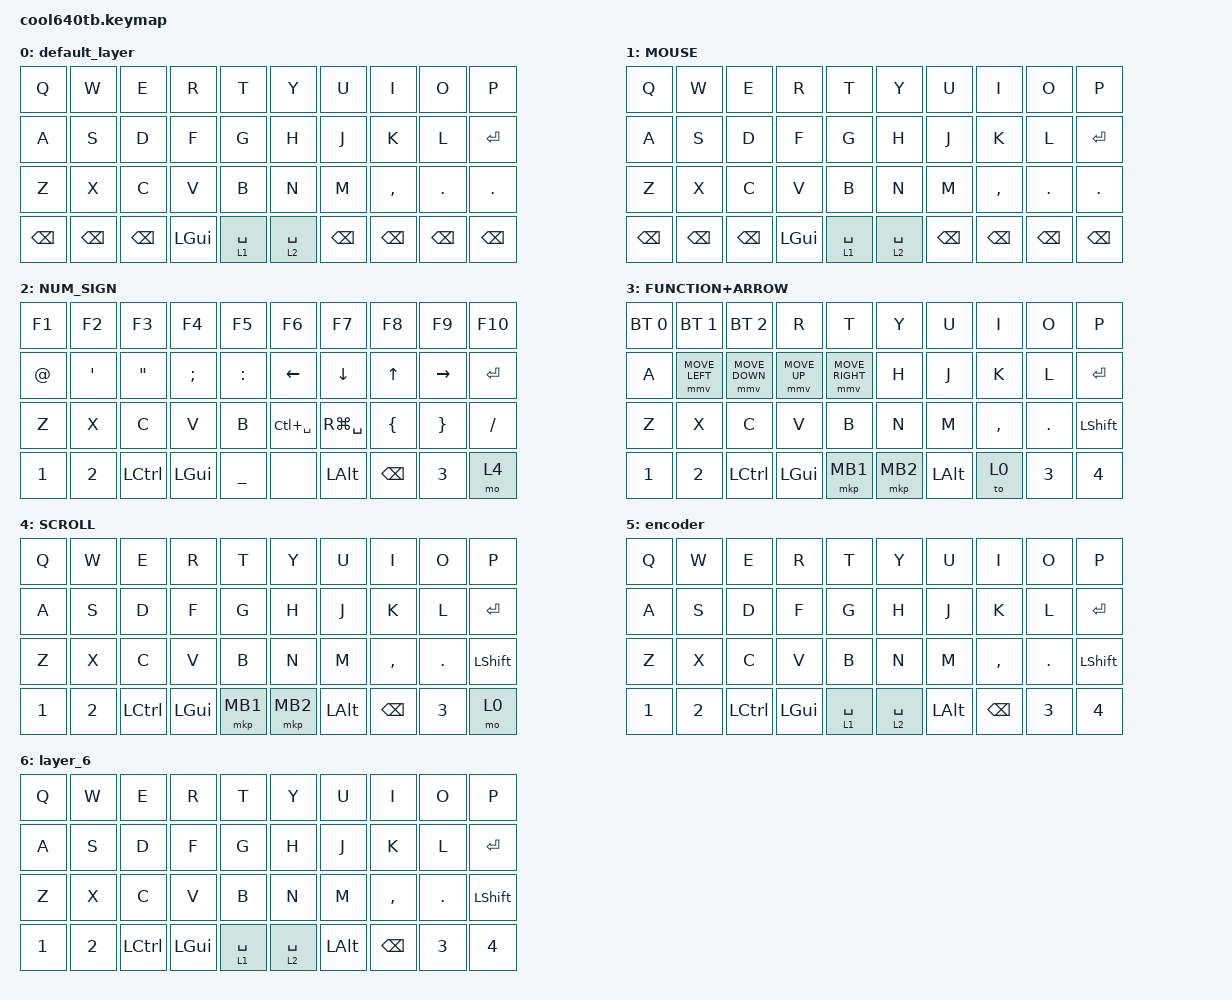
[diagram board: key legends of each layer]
// #define ZMK_POINTING_DEFAULT_MOVE_VAL 800 
// #define ZMK_POINTING_DEFAULT_SCRL_VAL 120

#include <behaviors.dtsi>
#include <dt-bindings/zmk/bt.h>
#include <dt-bindings/zmk/keys.h>
#include <dt-bindings/zmk/pointing.h>

// #include <dt-bindings/zmk/pointing.h>

#define MOUSE 1
#define NUM 2
#define SCROLL 4
#define JP_DQUOTE       AT                // "
#define JP_AMPERSAND    CARET             // &
#define JP_QUOTE        AMPERSAND         // '
#define JP_EQUAL        UNDER             // =
#define JP_CARET        EQUAL             // ^
#define JP_YEN          0x89              // ¥
#define JP_PLUS         COLON             // +
#define JP_TILDE        PLUS              // ~
#define JP_PIPE         LS(0x89)          // |
#define JP_AT           LEFT_BRACKET      // @
#define JP_COLON        SINGLE_QUOTE      // :
#define JP_ASTERISK     DOUBLE_QUOTES     // *
#define JP_BACKQUOTE    LEFT_BRACE        // `
#define JP_UNDERSCORE   LS(0x87)          // _
#define JP_LBRACKET     RIGHT_BRACKET     // [
#define JP_RBRACKET     BACKSLASH         // ]
#define JP_LPAREN       ASTERISK          // (
#define JP_RPAREN       LEFT_PARENTHESIS  // )
#define JP_LBRACE       RIGHT_BRACE       // {
#define JP_RBRACE       PIPE              // }
#define JP_KANA         LANGUAGE_1        // かな
#define JP_EISU         LANGUAGE_2        // 英数
#define JP_HANZEN       GRAVE             // 半角/全角

&mt {
    flavor = "balanced";
    quick-tap-ms = <0>;
};

/ {
    combos {
        compatible = "zmk,combos";

        comb1tab {
            bindings = <&kp TAB>;
            key-positions = <11 10>;
        };

        comb2esc {
            bindings = <&kp LS(ESCAPE)>;
            key-positions = <0 1>;
        };

        comb3shift {
            bindings = <&kt LEFT_SHIFT>;
            key-positions = <22 23>;
        };

        combo4bksp {
            bindings = <&kp DELETE>;
            key-positions = <9 8>;
        };

        combo5enter {
            bindings = <&kp ENTER>;
            key-positions = <20 21>;
        };

        combo6shift {
            bindings = <&sk RIGHT_SHIFT>;
            key-positions = <32 33>;
        };

        combo7lay4 {
            bindings = <&sl 4>;
            key-positions = <40 41>;
        };

        combo8task {
            bindings = <&kp LS(LC(ESCAPE))>;
            key-positions = <0 1 34>;
        };

        combo9lay4 {
            bindings = <&sl 4>;
            key-positions = <39 38>;
        };

        taskmana {
            bindings = <&kp LS(LC(ESC))>;
            key-positions = <0 34 35>;
        };

        enc {
            bindings = <&kp BACKSPACE>;
            key-positions = <39 27>;
        };

        shiftctrl {
            bindings = <&sk LS(LEFT_CONTROL)>;
            key-positions = <34 35>;
        };

        prev {
            bindings = <&mkp MB4>;
            key-positions = <42 33>;
        };

        encoder {
            bindings = <&to 5>;
            key-positions = <28 16>;
        };

        new {
            bindings = <&kp LS(LC(N))>;
            key-positions = <30 29>;
        };
    };

    macros {
        to_layer_0: to_layer_0 {
            compatible = "zmk,behavior-macro-one-param";
            #binding-cells = <1>;
            bindings = <&to 0 &macro_param_1to1 &kp MACRO_PLACEHOLDER>;
            label = "TO_LAYER_0";
        };

        pass1: pass1 {
            compatible = "zmk,behavior-macro";
            #binding-cells = <0>;
            bindings =
                <&kp LANG_HANJA>,
                <&macro_wait_time 2>,
                <&kp LS(K) &kp O &kp B &kp A &kp T &kp A &kp K &kp U &kp N8 &kp N3 &kp ENTER>;

            label = "PASS1";
        };

        pass2: pass2 {
            compatible = "zmk,behavior-macro";
            #binding-cells = <0>;
            bindings =
                <&kp LANG_HANJA>,
                <&macro_wait_time 2>,
                <&kp J &kp R &kp E &kp D &kp N2 &kp N0 &kp N2 &kp N5 &kp ENTER>;

            label = "PASS2";
        };

        pass3: pass3 {
            compatible = "zmk,behavior-macro";
            #binding-cells = <0>;
            bindings =
                <&kp LANG_HANJA>,
                <&macro_wait_time 2>,
                <&kp J &kp R &kp E &kp D &kp N2 &kp N0 &kp N1 &kp N9 &kp ENTER>;

            label = "PASS3";
        };

        mail1: mail1 {
            compatible = "zmk,behavior-macro";
            #binding-cells = <0>;
            bindings =
                <&kp LANG_HANJA>,
                <&macro_wait_time 2>,
                <&kp T &kp A &kp K &kp MINUS &kp K &kp O &kp B &kp A &kp Y &kp A &kp S &kp H &kp H &kp I &kp JP_AT &kp J &kp R &kp E &kp D &kp DOT &kp C &kp O &kp DOT &kp J &kp P>;

            label = "MAIL1";
        };

        mail2: mail2 {
            compatible = "zmk,behavior-macro";
            #binding-cells = <0>;
            bindings =
                <&kp LANG_HANJA>,
                <&macro_wait_time 2>,
                <&kp T &kp A &kp K &kp U &kp N8 &kp N3 &kp JP_AT &kp I &kp C &kp L &kp O &kp U &kp D &kp DOT &kp C &kp O &kp M>;

            label = "MAIL2";
        };

        LP1: adress {
            compatible = "zmk,behavior-macro";
            #binding-cells = <0>;
            bindings =
                <&kp LANG_HANJA>,
                <&macro_wait_time 2>,
                <&kp LS(T) &kp LS(H) &kp LS(E) &kp SPACE &kp LS(L) &kp LS(I) &kp LS(N) &kp LS(K) &kp LS(P) &kp LS(I) &kp LS(L) &kp LS(L) &kp LS(A) &kp LS(R) &kp N1 &kp SPACE &kp LS(S) &kp LS(O) &kp LS(U) &kp LS(T) &kp LS(H) &kp SPACE &kp N1 &kp N2 &kp LS(F)>;

            label = "ADRESS";
        };

        JV: JV {
            compatible = "zmk,behavior-macro";
            #binding-cells = <0>;
            bindings =
                <&kp LANGUAGE_1>,
                <&macro_wait_time 2>,
                <&kp LS(NUMBER_8) &kp LS(NUMBER_9) &kp ENTER &kp LANG_HANJA>,
                <&macro_wait_time 2>,
                <&kp LEFT_ARROW &kp LS(J) &kp LS(V) &kp RIGHT &kp LANG1>;

            label = "JV";
        };

        JR: JR {
            compatible = "zmk,behavior-macro";
            #binding-cells = <0>;
            bindings =
                <&kp LANGUAGE_1>,
                <&macro_wait_time 2>,
                <&kp LS(NUMBER_8) &kp LS(NUMBER_9) &kp ENTER &kp LANG_HANJA>,
                <&macro_wait_time 2>,
                <&kp LEFT_ARROW &kp LS(J) &kp LS(R) &kp RIGHT &kp LANGUAGE_1>;

            label = "JR";
        };

        machi: machi {
            compatible = "zmk,behavior-macro";
            #binding-cells = <0>;
            bindings =
                <&kp LANGUAGE_1>,
                <&macro_wait_time 2>,
                <&kp LS(NUMBER_8) &kp LS(NUMBER_9) &kp ENTER &kp LEFT_ARROW &kp M &kp A &kp C &kp H &kp I &kp S &kp E &kp N &kp N &kp SPACE &kp ENTER &kp RIGHT &kp LANGUAGE_1>;

            label = "MACHI";
        };

        pass4: pj {
            compatible = "zmk,behavior-macro";
            #binding-cells = <0>;
            bindings =
                <&kp LANG_HANJA>,
                <&macro_wait_time 2>,
                <&kp P &kp J &kp P &kp J &kp N8 &kp N7 &kp N8 &kp N7 &kp ENTER>;

            label = "PJ";
        };

        kakko: kakko {
            compatible = "zmk,behavior-macro";
            #binding-cells = <0>;
            bindings =
                <&kp LANGUAGE_1>,
                <&macro_wait_time 2>,
                <&kp K &kp A &kp K &kp K &kp O &kp SPACE &kp ENTER &kp LEFT>;

            label = "KAKKO";
        };

        undo: undo {
            compatible = "zmk,behavior-macro";
            #binding-cells = <0>;
            bindings = <&kp LANG_HANJA>, <&macro_wait_time 1>, <&kp LC(Z)>;

            label = "UNDO";
        };

        cut: cut {
            compatible = "zmk,behavior-macro";
            #binding-cells = <0>;
            bindings = <&kp LANG_HANJA>, <&macro_wait_time 1>, <&kp LC(X)>;

            label = "CUT";
        };

        copy: copy {
            compatible = "zmk,behavior-macro";
            #binding-cells = <0>;
            bindings = <&kp LANG_HANJA>, <&macro_wait_time 1>, <&kp LC(C)>;

            label = "COPY";
        };

        paste: paste {
            compatible = "zmk,behavior-macro";
            #binding-cells = <0>;
            bindings = <&kp LANG_HANJA>, <&macro_wait_time 1>, <&kp LC(V)>;

            label = "PASTE";
        };

        big: big {
            compatible = "zmk,behavior-macro";
            #binding-cells = <0>;
            bindings = <&kp LANG_HANJA>, <&macro_wait_time 1>, <&kp LC(B)>;

            label = "BIG";
        };

        Notepad: Notepad {
            compatible = "zmk,behavior-macro";
            #binding-cells = <0>;
            bindings =
                <&kp LANG_HANJA>,
                <&macro_wait_time 100>,
                <&kp LG(R)>,
                <&macro_wait_time 20>,
                <&kp N &kp O &kp T &kp E &kp P &kp A &kp D &kp ENTER>;

            label = "NOTEPAD";
        };

        open: open {
            compatible = "zmk,behavior-macro";
            #binding-cells = <0>;
            bindings =
                <&kp LANG_HANJA>,
                <&macro_wait_time 2>,
                <&kp LC(C)>,
                <&macro_wait_time 5>,
                <&kp LG(R)>,
                <&macro_wait_time 30>,
                <&kp LC(V) &kp ENTER>;

            label = "OPEN";
        };

        kakklink: kakklink {
            compatible = "zmk,behavior-macro";
            #binding-cells = <0>;
            bindings =
                <&kp LANG_HANJA>,
                <&macro_wait_time 2>,
                <&kp LESS_THAN &kp GREATER_THAN &kp LEFT_ARROW &kp LC(V) &kp RIGHT_ARROW &kp ENTER>;

            label = "KAKKLINK";
        };

        name: name {
            compatible = "zmk,behavior-macro";
            #binding-cells = <0>;
            bindings =
                <&kp LANG_HANJA>,
                <&macro_wait_time 2>,
                <&kp F2 &kp LEFT_ARROW &kp LC(V)>,
                <&macro_wait_time 5>,
                <&kp ENTER>;

            label = "NAME";
        };
    };

    behaviors {
        lt_to_layer_0: lt_to_layer_0 {
            compatible = "zmk,behavior-hold-tap";
            label = "LAYER_TAP_TO_0";
            bindings = <&mo>, <&to_layer_0>;

            #binding-cells = <2>;
            tapping-term-ms = <200>;
        };
    };

    keymap {
        compatible = "zmk,keymap";

        default_layer {
            bindings = <
&kp Q       &kp W    &kp E             &kp R         &kp T        &kp Y        &kp U         &kp I          &kp O          &kp P
&kp A       &kp S    &kp D             &kp F         &kp G        &kp H        &kp J         &kp K          &kp L          &kp ENTER
&kp Z       &kp X    &kp C             &kp V         &kp B        &kp N        &kp M         &kp COMMA      &kp PERIOD     &kp PERIOD
&kp BACKSPACE  &kp BACKSPACE  &kp BACKSPACE  &kp LEFT_GUI  &lt 1 SPACE  &lt 2 SPACE  &kp BACKSPACE  &kp BACKSPACE  &kp BACKSPACE  &kp BACKSPACE
            >;
        };

        MOUSE {
            bindings = <
&kp Q       &kp W    &kp E             &kp R         &kp T        &kp Y        &kp U         &kp I          &kp O          &kp P
&kp A       &kp S    &kp D             &kp F         &kp G        &kp H        &kp J         &kp K          &kp L          &kp ENTER
&kp Z       &kp X    &kp C             &kp V         &kp B        &kp N        &kp M         &kp COMMA      &kp PERIOD     &kp PERIOD
&kp BACKSPACE  &kp BACKSPACE  &kp BACKSPACE  &kp LEFT_GUI  &lt 1 SPACE  &lt 2 SPACE  &kp BACKSPACE  &kp BACKSPACE  &kp BACKSPACE  &kp BACKSPACE
            >;
        };

        NUM_SIGN {
            bindings = <
&kp F1       &kp F2   &kp F3             &kp F4         &kp F5          &kp F6         &kp F7          &kp F8          &kp F9           &kp F10
&kp AT_SIGN  &kp SQT  &kp DOUBLE_QUOTES  &kp SEMICOLON  &kp COLON       &kp LEFT       &kp DOWN_ARROW  &kp UP_ARROW    &kp RIGHT        &kp ENTER
&kp Z        &kp X    &kp C              &kp V          &kp B           &kp LC(SPACE)  &kp RG(SPACE)   &kp LEFT_BRACE  &kp RIGHT_BRACE  &kp SLASH
&kp N1       &kp N2   &kp LEFT_CONTROL   &kp LEFT_GUI   &kp UNDERSCORE  &none          &kp LEFT_ALT    &kp BACKSPACE   &kp N3           &mo 4
            >;
        };

        FUNCTION+ARROW {
            bindings = <
&bt BT_SEL 0  &bt BT_SEL 1    &bt BT_SEL 2      &kp R         &kp T            &kp Y     &kp U         &kp I      &kp O       &kp P
&kp A         &mmv MOVE_LEFT  &mmv MOVE_DOWN    &mmv MOVE_UP  &mmv MOVE_RIGHT  &kp H     &kp J         &kp K      &kp L       &kp ENTER
&kp Z         &kp X           &kp C             &kp V         &kp B            &kp N     &kp M         &kp COMMA  &kp PERIOD  &kp LEFT_SHIFT
&kp N1        &kp N2          &kp LEFT_CONTROL  &kp LEFT_GUI  &mkp MB1         &mkp MB2  &kp LEFT_ALT  &to 0      &kp N3      &kp N4
            >;
        };

        SCROLL {
            bindings = <
&kp Q   &kp W   &kp E             &kp R         &kp T     &kp Y     &kp U         &kp I          &kp O       &kp P
&kp A   &kp S   &kp D             &kp F         &kp G     &kp H     &kp J         &kp K          &kp L       &kp ENTER
&kp Z   &kp X   &kp C             &kp V         &kp B     &kp N     &kp M         &kp COMMA      &kp PERIOD  &kp LEFT_SHIFT
&kp N1  &kp N2  &kp LEFT_CONTROL  &kp LEFT_GUI  &mkp MB1  &mkp MB2  &kp LEFT_ALT  &kp BACKSPACE  &kp N3      &mo 0
            >;
        };

        encoder {
            bindings = <
&kp Q   &kp W   &kp E             &kp R         &kp T        &kp Y        &kp U         &kp I          &kp O       &kp P
&kp A   &kp S   &kp D             &kp F         &kp G        &kp H        &kp J         &kp K          &kp L       &kp ENTER
&kp Z   &kp X   &kp C             &kp V         &kp B        &kp N        &kp M         &kp COMMA      &kp PERIOD  &kp LEFT_SHIFT
&kp N1  &kp N2  &kp LEFT_CONTROL  &kp LEFT_GUI  &lt 1 SPACE  &lt 2 SPACE  &kp LEFT_ALT  &kp BACKSPACE  &kp N3      &kp N4
            >;
        };

        layer_6 {
            bindings = <
&kp Q   &kp W   &kp E             &kp R         &kp T        &kp Y        &kp U         &kp I          &kp O       &kp P
&kp A   &kp S   &kp D             &kp F         &kp G        &kp H        &kp J         &kp K          &kp L       &kp ENTER
&kp Z   &kp X   &kp C             &kp V         &kp B        &kp N        &kp M         &kp COMMA      &kp PERIOD  &kp LEFT_SHIFT
&kp N1  &kp N2  &kp LEFT_CONTROL  &kp LEFT_GUI  &lt 1 SPACE  &lt 2 SPACE  &kp LEFT_ALT  &kp BACKSPACE  &kp N3      &kp N4
            >;
        };
    };
};
